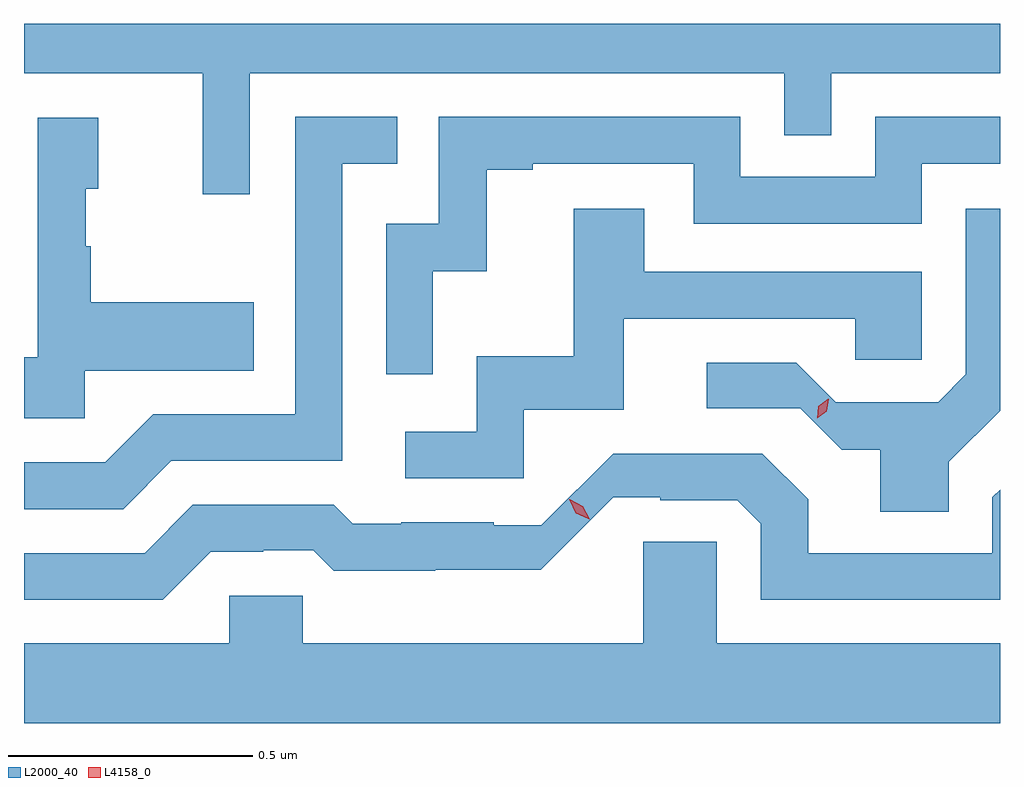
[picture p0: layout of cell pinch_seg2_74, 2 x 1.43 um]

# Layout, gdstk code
import gdstk
lib = gdstk.Library(unit=1e-6, precision=1e-09)
def P(c, l, *ps):  # polygons
    for p in ps: c.add(gdstk.Polygon(p, *l))
L2000_40 = (2000, 40)
L4158_0 = (4158, 0)

pinch_seg2_74 = lib.new_cell('pinch_seg2_74')
P(pinch_seg2_74, L2000_40, [(1041.309,656.96),(1042.404,656.96),(1042.404,656.833),(1042.5,656.833),(1042.5,656.96),(1042.846,656.96),(1042.846,657.062),(1040.846,657.062),(1040.846,656.96),(1041.212,656.96),(1041.212,656.712),(1041.309,656.712)],
  [(1041.684,656.555),(1041.794,656.555),(1041.794,656.763),(1041.889,656.763),(1041.889,656.775),(1042.218,656.775),(1042.218,656.652),(1042.686,656.652),(1042.686,656.775),(1042.846,656.775),(1042.846,656.871),(1042.59,656.871),(1042.59,656.748),(1042.314,656.748),(1042.314,656.871),(1041.696,656.871),(1041.696,656.652),(1041.588,656.652),(1041.588,656.343),(1041.684,656.343)],
  [(1041.148,656.166),(1041.498,656.166),(1041.498,656.775),(1041.611,656.775),(1041.611,656.871),(1041.402,656.871),(1041.402,656.262),(1041.111,656.262),(1041.012,656.163),(1040.846,656.163),(1040.846,656.067),(1041.049,656.067)],
  [(1040.97,656.351),(1041.317,656.351),(1041.317,656.491),(1040.983,656.491),(1040.983,656.606),(1040.973,656.606),(1040.973,656.724),(1040.998,656.724),(1040.998,656.869),(1040.874,656.869),(1040.874,656.378),(1040.846,656.378),(1040.846,656.253),(1040.97,656.253)],
  [(1041.87,656.271),(1042.075,656.271),(1042.075,656.457),(1042.549,656.457),(1042.549,656.373),(1042.686,656.373),(1042.686,656.553),(1042.117,656.553),(1042.117,656.683),(1041.973,656.683),(1041.973,656.38),(1041.774,656.38),(1041.774,656.226),(1041.627,656.226),(1041.627,656.13),(1041.87,656.13)],
  [(1042.741,656.164),(1042.846,656.269),(1042.846,656.683),(1042.776,656.683),(1042.776,656.343),(1042.719,656.286),(1042.509,656.286),(1042.428,656.367),(1042.245,656.367),(1042.245,656.274),(1042.437,656.274),(1042.522,656.189),(1042.601,656.189),(1042.601,656.062),(1042.741,656.062)],
  [(1041.229,655.98),(1041.336,655.98),(1041.336,655.983),(1041.439,655.983),(1041.481,655.941),(1041.689,655.941),(1041.689,655.943),(1041.905,655.943),(1042.053,656.091),(1042.15,656.091),(1042.15,656.085),(1042.308,656.085),(1042.356,656.037),(1042.356,655.881),(1042.846,655.881),(1042.846,656.107),(1042.83,656.091),(1042.83,655.977),(1042.453,655.977),(1042.453,656.087),(1042.359,656.181),(1042.053,656.181),(1041.906,656.034),(1041.809,656.034),(1041.809,656.04),(1041.619,656.04),(1041.619,656.037),(1041.52,656.037),(1041.481,656.076),(1041.192,656.076),(1041.093,655.977),(1040.846,655.977),(1040.846,655.881),(1041.13,655.881)],
  [(1042.846,655.792),(1042.266,655.792),(1042.266,656),(1042.115,656),(1042.115,655.792),(1041.417,655.792),(1041.417,655.89),(1041.267,655.89),(1041.267,655.792),(1040.846,655.792),(1040.846,655.628),(1042.846,655.628)])
P(pinch_seg2_74, L4158_0, [(1042.471,656.253),(1042.471,656.253),(1042.474,656.278),(1042.494,656.293),(1042.494,656.293),(1042.495,656.292),(1042.491,656.268),(1042.471,656.253)],
  [(1042.004,656.046),(1041.977,656.059),(1041.963,656.087),(1041.963,656.087),(1041.964,656.087),(1041.991,656.073),(1042.005,656.046),(1042.005,656.046)])

lib.write_gds('pinch_seg2_74.gds')
